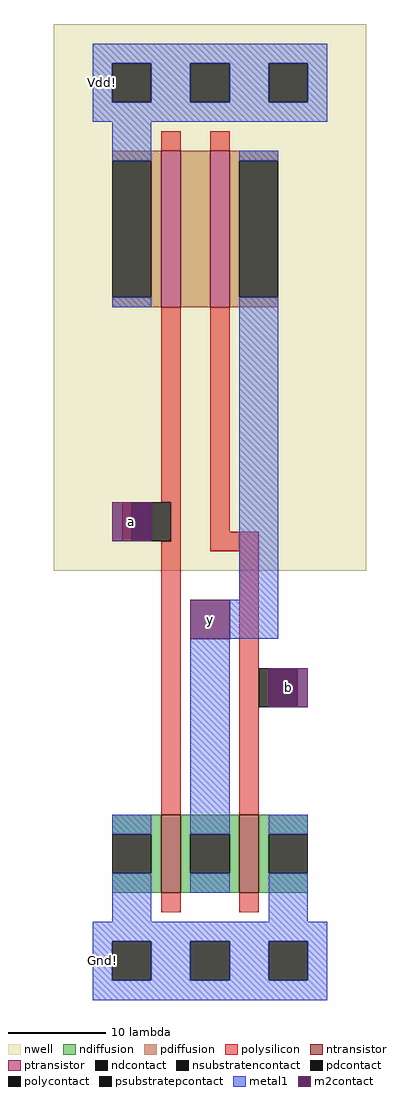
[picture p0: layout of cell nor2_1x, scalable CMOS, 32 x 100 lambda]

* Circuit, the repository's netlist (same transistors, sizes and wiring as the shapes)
* SPICE3 file created from nor2_1x.ext - technology: scmos

.option scale=0.3u

M1000 a_7_67# a Vdd Vdd pfet w=16 l=2
+  ad=48 pd=38 as=80 ps=42
M1001 y b a_7_67# Vdd pfet w=16 l=2
+  ad=80 pd=42 as=0 ps=0
M1002 y a Gnd Gnd nfet w=8 l=2
+  ad=48 pd=28 as=80 ps=52
M1003 Gnd b y Gnd nfet w=8 l=2
+  ad=0 pd=0 as=0 ps=0

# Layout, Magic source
magic
tech scmos
<< nwell >>
rect -6 40 26 96
<< ntransistor >>
rect 5 7 7 15
rect 13 7 15 15
<< ptransistor >>
rect 5 67 7 83
rect 10 67 12 83
<< ndiffusion >>
rect 0 13 5 15
rect 4 9 5 13
rect 0 7 5 9
rect 7 13 13 15
rect 7 9 8 13
rect 12 9 13 13
rect 7 7 13 9
rect 15 13 20 15
rect 15 9 16 13
rect 15 7 20 9
<< pdiffusion >>
rect 0 82 5 83
rect 4 68 5 82
rect 0 67 5 68
rect 7 67 10 83
rect 12 82 17 83
rect 12 68 13 82
rect 12 67 17 68
<< ndcontact >>
rect 0 9 4 13
rect 8 9 12 13
rect 16 9 20 13
<< pdcontact >>
rect 0 68 4 82
rect 13 68 17 82
<< psubstratepcontact >>
rect 0 -2 4 2
rect 8 -2 12 2
rect 16 -2 20 2
<< nsubstratencontact >>
rect 0 88 4 92
rect 8 88 12 92
rect 16 88 20 92
<< polysilicon >>
rect 5 83 7 85
rect 10 83 12 85
rect 5 47 7 67
rect 1 43 2 47
rect 6 43 7 47
rect 5 15 7 43
rect 10 44 12 67
rect 10 42 15 44
rect 13 15 15 42
rect 5 5 7 7
rect 13 5 15 7
<< polycontact >>
rect 2 43 6 47
rect 15 26 19 30
<< metal1 >>
rect -2 92 22 94
rect -2 88 0 92
rect 4 88 8 92
rect 12 88 16 92
rect 20 88 22 92
rect -2 86 22 88
rect 0 82 4 86
rect 0 67 4 68
rect 13 82 17 83
rect 13 37 17 68
rect 12 33 17 37
rect 0 13 4 15
rect 0 4 4 9
rect 8 13 12 33
rect 8 7 12 9
rect 16 13 20 15
rect 16 4 20 9
rect -2 2 22 4
rect -2 -2 0 2
rect 4 -2 8 2
rect 12 -2 16 2
rect 20 -2 22 2
rect -2 -4 22 -2
<< m2contact >>
rect 0 43 2 47
rect 2 43 4 47
rect 8 33 12 37
rect 16 26 19 30
rect 19 26 20 30
<< labels >>
rlabel m2contact 2 45 2 45 1 a
rlabel m2contact 10 35 10 35 1 y
rlabel m2contact 18 28 18 28 1 b
rlabel metal1 -1 90 -1 90 3 Vdd!
rlabel metal1 -1 0 -1 0 3 Gnd!
<< end >>
